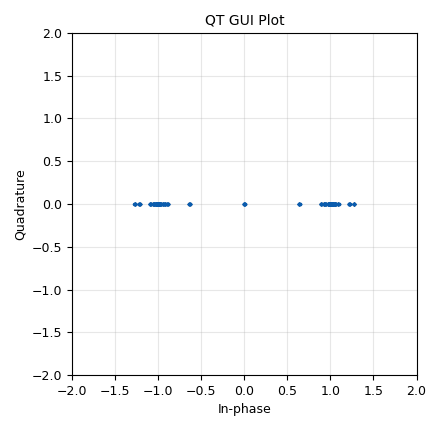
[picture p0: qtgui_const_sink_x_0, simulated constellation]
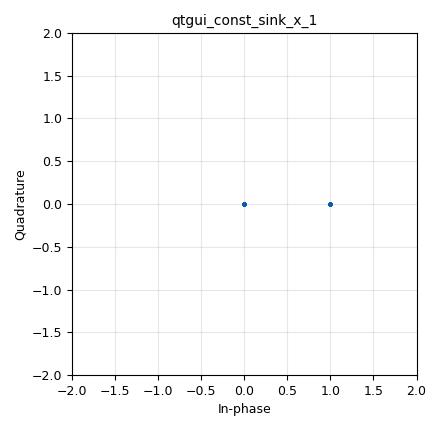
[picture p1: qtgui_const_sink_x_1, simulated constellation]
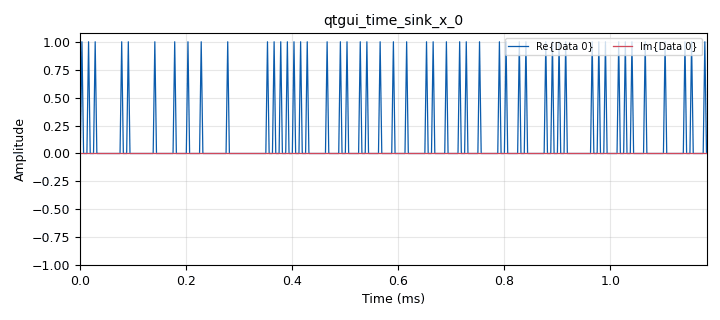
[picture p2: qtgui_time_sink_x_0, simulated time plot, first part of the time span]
options:
  parameters:
    author: Javier Acevedo
    category: Custom
    copyright: MIT
    generate_options: qt_gui
    id: bpsk_mod
    output_language: python
  states: {}

blocks:
- name: center_freq
  id: variable
  parameters:
    value: '4'
  states: {}
- name: samp_rate
  id: variable
  parameters:
    value: 320e3
  states: {}
- name: sps
  id: variable
  parameters:
    value: '4'
  states: {}
- name: analog_random_source_x_0
  id: analog_random_source_x
  parameters:
    max: '2'
    min: '0'
    num_samps: '10000000'
    repeat: 'True'
    type: byte
  states: {}
- name: blocks_interleaved_char_to_complex_0
  id: blocks_interleaved_char_to_complex
  parameters:
    scale_factor: '1.0'
    vector_input: 'False'
  states: {}
- name: blocks_throttle_0
  id: blocks_throttle
  parameters:
    samples_per_second: samp_rate
    type: complex
  states: {}
- name: digital_psk_demod_0
  id: digital_psk_demod
  parameters:
    constellation_points: '2'
    differential: 'True'
    excess_bw: '0.35'
    freq_bw: 6.28/100.0
    mod_code: '"gray"'
    phase_bw: 6.28/100.0
    samples_per_symbol: sps
    timing_bw: 6.28/100.0
  states: {}
- name: digital_psk_mod_0
  id: digital_psk_mod
  parameters:
    constellation_points: '2'
    differential: 'True'
    excess_bw: '350e-3'
    mod_code: '"gray"'
    samples_per_symbol: '4'
  states: {}
- name: qtgui_const_sink_x_0
  id: qtgui_const_sink_x
  parameters:
    name: QT GUI Plot
    size: '1024'
    type: complex
  states: {}
- name: qtgui_const_sink_x_1
  id: qtgui_const_sink_x
  parameters:
    size: '1024'
    type: complex
  states: {}
- name: qtgui_time_sink_x_0
  id: qtgui_time_sink_x
  parameters:
    size: '1024'
    srate: samp_rate
    type: complex
  states: {}
- name: virtual_sink_0
  id: virtual_sink
  parameters:
    stream_id: data
  states: {}
- name: virtual_source_0
  id: virtual_source
  parameters:
    stream_id: data
  states: {}

connections:
- [analog_random_source_x_0, '0', digital_psk_mod_0, '0']
- [blocks_interleaved_char_to_complex_0, '0', qtgui_const_sink_x_1, '0']
- [blocks_interleaved_char_to_complex_0, '0', qtgui_time_sink_x_0, '0']
- [blocks_throttle_0, '0', qtgui_const_sink_x_0, '0']
- [blocks_throttle_0, '0', virtual_sink_0, '0']
- [digital_psk_demod_0, '0', blocks_interleaved_char_to_complex_0, '0']
- [digital_psk_mod_0, '0', blocks_throttle_0, '0']
- [virtual_source_0, '0', digital_psk_demod_0, '0']

metadata:
  file_format: 1
